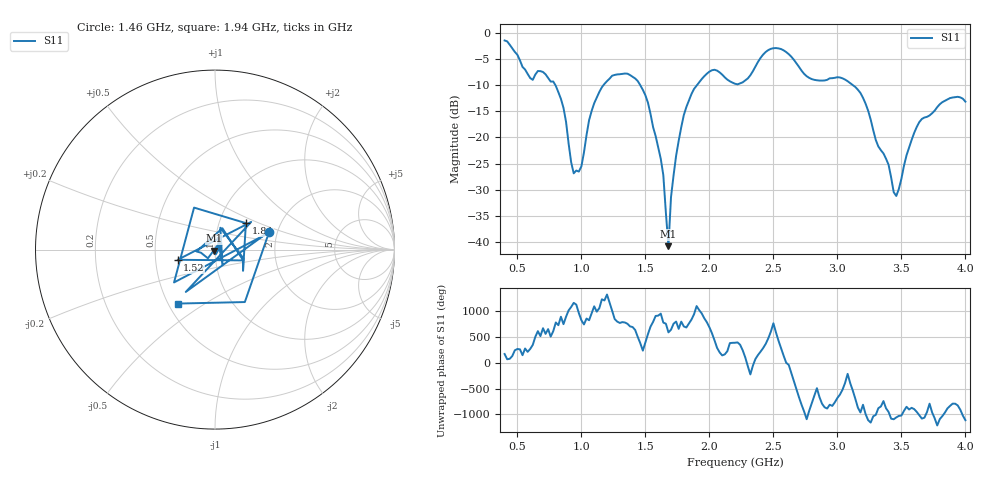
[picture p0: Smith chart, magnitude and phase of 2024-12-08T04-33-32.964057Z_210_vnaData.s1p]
!Created with skrf (http://scikit-rf.org).
# Hz S RI R 50.0
!freq ReS11 ImS11
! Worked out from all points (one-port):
!   181 points, 400 MHz to 4 GHz, reference 50 ohm
!   lowest |S11| = -40.9 dB at 1.68 GHz (marker M1), VSWR 1.02, Z = 49.4 - j0.671 ohm
!   |S11| at or under -10 dB: 797.8 MHz to 1.171 GHz (373.4 MHz wide, 37.9 % of centre); 1.461 GHz to 1.902 GHz (441.3 MHz wide, 26.2 % of centre); 3.123 GHz to end of sweep
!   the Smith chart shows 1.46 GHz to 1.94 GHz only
!   S11 on the Smith chart (normalised r, x): 1.46 GHz: 1.80, +0.40; 1.52 GHz: 0.65, -0.08; 1.84 GHz: 1.34, +0.42; 1.94 GHz: 0.56, -0.39
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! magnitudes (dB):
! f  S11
! 400 MHz  -1.4
! 600 MHz  -8.6
! 780 MHz  -9.3
! 860 MHz  -14.3
! 940 MHz  -26.9
! 980 MHz  -26.5
! 1.1 GHz  -13.4
! 1.3 GHz  -7.9
! 1.46 GHz  -10.0
! 1.52 GHz  -13.3
! 1.64 GHz  -27.2
! 1.68 GHz  -40.9
! 1.7 GHz  -31.5
! 1.76 GHz  -20.6
! 1.84 GHz  -12.9
! 1.94 GHz  -8.8
! 2.04 GHz  -7.0
! 2.2 GHz  -9.7
! 2.48 GHz  -3.0
! 2.66 GHz  -5.1
! 2.8 GHz  -8.8
! 3.1 GHz  -9.6
! 3.22 GHz  -13.5
! 3.46 GHz  -31.2
! 3.56 GHz  -21.9
! 3.64 GHz  -17.0
! 3.8 GHz  -13.6
! 4 GHz  -13.1
